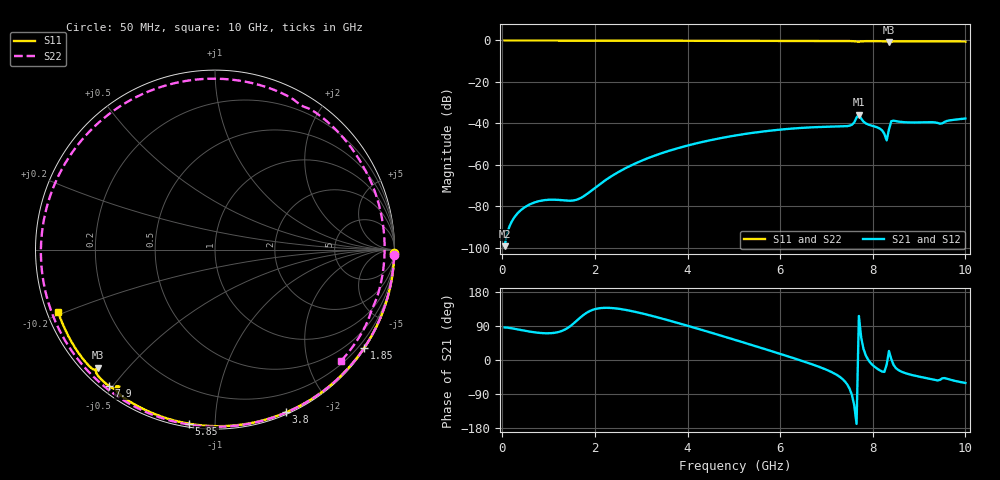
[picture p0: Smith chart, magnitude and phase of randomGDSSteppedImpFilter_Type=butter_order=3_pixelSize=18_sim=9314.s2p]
! freq	dB(S11)	phase(S11)	dB(S12)	phase(S12)
!  dB(S21)	phase(S21)	dB(S22)	phase(S22)
!S-par simulation data
#  GHz  S  DB  R 50
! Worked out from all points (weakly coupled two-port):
!   200 points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, 50 MHz to 10 GHz, reference 50 ohm
!   highest |S21| = -35.88 dB at 7.7 GHz (marker M1); lowest = -99.3 dB at 50 MHz (marker M2)
!   lowest |S11| = -0.7 dB at 8.35 GHz (marker M3), VSWR 25.62, Z = 2.29 - j20.8 ohm
!   |S11| at or under -10 dB: nowhere
!   |S22| runs from -0.6 to 0.0 dB; largest |S21 - S12| = 0
!   S11 on the Smith chart (normalised r, x): 50 MHz: open; 1.85 GHz: 0.03, -3.35; 3.8 GHz: 0.02, -1.53; 5.85 GHz: 0.02, -0.86; 7.9 GHz: 0.02, -0.49; 10 GHz: 0.03, -0.19
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0.05  -0.01 -0.9  -99.28 85.8  -99.28 85.8  -0.01 -1.9
0.5  -0.01 -9.1  -80.28 76.8  -80.28 76.8  -0.03 -19.0
0.85  -0.02 -15.5  -77.28 71.0  -77.28 71.0  -0.04 -32.1
1.5  -0.03 -27.1  -77.31 92.4  -77.31 92.4  -0.07 -56.2
1.75  -0.04 -31.5  -75.31 118.6  -75.31 118.6  -0.08 -65.3
1.85  -0.04 -33.3  -73.76 126.7  -73.76 126.7  -0.09 -68.9
2.6  -0.06 -46.3  -62.36 133.6  -62.36 133.6  -0.12 -95.7
3.4  -0.08 -59.8  -54.72 111.0  -54.72 111.0  -0.16 -123.9
3.8  -0.09 -66.4  -51.94 97.4  -51.94 97.4  -0.18 -138.0
5.05  -0.13 -86.2  -45.81 52.2  -45.81 52.2  -0.27 175.9
5.85  -0.17 -98.4  -43.38 22.0  -43.38 22.0  -0.34 143.5
6.7  -0.22 -111.1  -41.91 -11.8  -41.91 -11.8  -0.40 105.7
7.5  -0.30 -123.2  -41.14 -75.9  -41.14 -75.9  -0.46 67.5
7.7  -0.63 -124.9  -35.88 116.2  -35.88 116.2  -0.57 58.5
7.9  -0.33 -127.9  -40.57 0.7  -40.57 0.7  -0.46 48.7
8.2  -0.37 -132.9  -43.36 -30.5  -43.36 -30.5  -0.47 34.3
8.3  -0.51 -134.8  -48.22 -12.2  -48.22 -12.2  -0.48 29.6
8.35  -0.68 -134.7  -42.90 23.8  -42.90 23.8  -0.48 27.3
8.4  -0.58 -134.2  -38.97 2.3  -38.97 2.3  -0.47 24.9
8.45  -0.47 -134.9  -38.70 -13.2  -38.70 -13.2  -0.47 22.6
9.15  -0.43 -145.8  -39.49 -47.6  -39.49 -47.6  -0.50 -8.5
10  -0.53 -158.3  -37.67 -60.7  -37.67 -60.7  -0.57 -41.7
